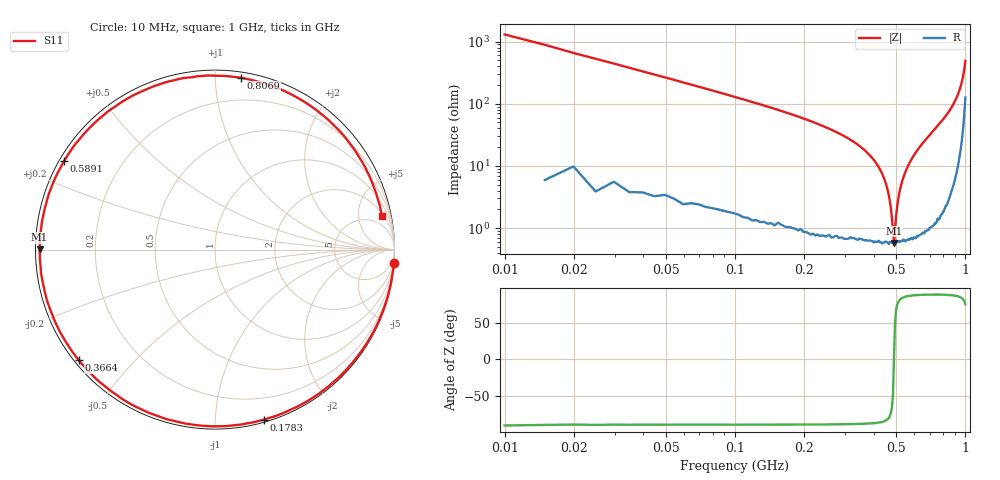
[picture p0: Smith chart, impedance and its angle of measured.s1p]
!Keysight Technologies,N5242A,MY53222371,A.10.65.16
!Date: Thursday, September 19, 2024 14:37:14
!Correction: S22(Full 2 Port(1,2))
!S1P File: Measurement: S22:
# Hz S  dB  R 50
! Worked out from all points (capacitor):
!   201 points, 10 MHz to 1 GHz, reference 50 ohm
!   read as one part to ground: C = 12.1 pF near 14.95 MHz
!   lowest |Z| = 573 mohm at 490.1 MHz (marker M1)
!   series resonance near 489.8 MHz, so ESL is about 8.7 nH
!   S11 on the Smith chart (normalised r, x): 10 MHz: -0, -26; 178.3 MHz: 0.02, -1.33; 366.4 MHz: 0.01, -0.36; 589.1 MHz: 0.01, +0.27; 807 MHz: 0.04, +1.16; 1 GHz: 2.52, +9.43
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1e7  0.00 -4.4
3.475e7  -0.02 -15.0
6.445e7  -0.05 -27.6
9.91e7  -0.08 -42.1
1.3375e8  -0.10 -56.2
1.783e8  -0.12 -73.9
2.1295e8  -0.13 -87.1
2.575e8  -0.16 -103.6
3.07e8  -0.18 -121.0
3.664e8  -0.19 -140.9
3.8125e8  -0.20 -145.7
4.357e8  -0.19 -163.1
4.9015e8  -0.20 179.9
5.05e8  -0.20 175.3
5.4955e8  -0.21 161.7
5.8915e8  -0.21 149.7
6.2875e8  -0.23 137.6
6.931e8  -0.24 117.8
7.2775e8  -0.25 106.9
7.525e8  -0.26 99.1
7.723e8  -0.26 92.7
8.0695e8  -0.28 81.3
8.416e8  -0.30 69.7
8.7625e8  -0.34 57.7
9.0595e8  -0.37 47.1
9.406e8  -0.40 34.2
9.703e8  -0.43 22.9
1e9  -0.46 11.3
